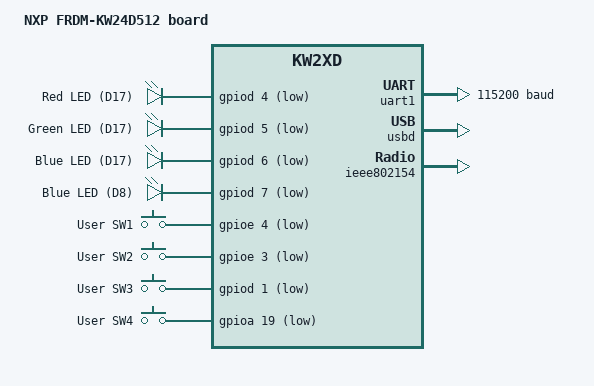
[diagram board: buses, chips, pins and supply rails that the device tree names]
/*
 * Copyright 2025 NXP
 *
 * SPDX-License-Identifier: Apache-2.0
 */

/dts-v1/;

#include <nxp/kinetis/kwx/nxp_kw2xd.dtsi>
#include "frdm_kw24d512-pinctrl.dtsi"
#include <zephyr/dt-bindings/input/input-event-codes.h>

/ {
	model = "NXP FRDM-KW24D512 board";
	compatible = "nxp,frdm-kw24d512", "nxp,kw24d512", "nxp,kw2xd";

	aliases {
		led0 = &red_led;
		led1 = &green_led;
		led2 = &blue_led;
		led3 = &blue_led_d8;
		sw0 = &user_button_1;
		sw1 = &user_button_2;
		sw2 = &user_button_3;
		sw3 = &user_button_4;
	};

	chosen {
		zephyr,sram = &sram0;
		zephyr,flash = &flash0;
		zephyr,console = &uart1;
		zephyr,shell-uart = &uart1;
		zephyr,uart-pipe = &uart1;
		zephyr,ieee802154 = &ieee802154;
	};

	leds {
		compatible = "gpio-leds";

		red_led: led_0 {
			gpios = <&gpiod 4 GPIO_ACTIVE_LOW>;
			label = "Red LED (D17)";
		};

		green_led: led_1 {
			gpios = <&gpiod 5 GPIO_ACTIVE_LOW>;
			label = "Green LED (D17)";
		};

		blue_led: led_2 {
			gpios = <&gpiod 6 GPIO_ACTIVE_LOW>;
			label = "Blue LED (D17)";
		};

		blue_led_d8: led_3 {
			gpios = <&gpiod 7 GPIO_ACTIVE_LOW>;
			label = "Blue LED (D8)";
		};
	};

	gpio_keys {
		compatible = "gpio-keys";

		user_button_1: button_0 {
			label = "User SW1";
			gpios = <&gpioe 4 (GPIO_ACTIVE_LOW | GPIO_PULL_UP)>;
			zephyr,code = <INPUT_KEY_0>;
		};

		user_button_2: button_1 {
			label = "User SW2";
			gpios = <&gpioe 3 (GPIO_ACTIVE_LOW | GPIO_PULL_UP)>;
			zephyr,code = <INPUT_KEY_1>;
		};

		user_button_3: button_2 {
			label = "User SW3";
			gpios = <&gpiod 1 (GPIO_ACTIVE_LOW | GPIO_PULL_UP)>;
			zephyr,code = <INPUT_KEY_2>;
		};

		user_button_4: button_3 {
			label = "User SW4";
			gpios = <&gpioa 19 (GPIO_ACTIVE_LOW | GPIO_PULL_UP)>;
			zephyr,code = <INPUT_KEY_3>;
		};
	};
};

&sim {
	pllfll-select = <KINETIS_SIM_PLLFLLSEL_MCGPLLCLK>;
	er32k-select = <KINETIS_SIM_ER32KSEL_RTC>;
};

&{/cpus} {
	timebase-frequency = <DT_FREQ_M(48)>;
};

&cpu0 {
	clock-frequency = <DT_FREQ_M(48)>;
};

&uart1 {
	status = "okay";
	current-speed = <115200>;
	pinctrl-0 = <&uart1_default>;
	pinctrl-names = "default";
};

zephyr_udc0: &usbd {
	status = "okay";
	num-bidir-endpoints = <8>;
};

&gpioa {
	status = "okay";
};

&gpiob {
	status = "okay";
};

&gpioc {
	status = "okay";
};

&gpiod {
	status = "okay";
};

&gpioe {
	status = "okay";
};

&ieee802154 {
	status = "okay";
};

&flash0 {
	partitions {
		ranges;
		#address-cells = <1>;
		#size-cells = <1>;

		slot0_partition: partition@0 {
			compatible = "zephyr,mapped-partition";
			label = "image-0";
			reg = <0x00000000 0x00070000>;
		};

		storage_partition: partition@70000 {
			compatible = "zephyr,mapped-partition";
			label = "storage";
			reg = <0x00070000 0x00010000>;
		};
	};
};
